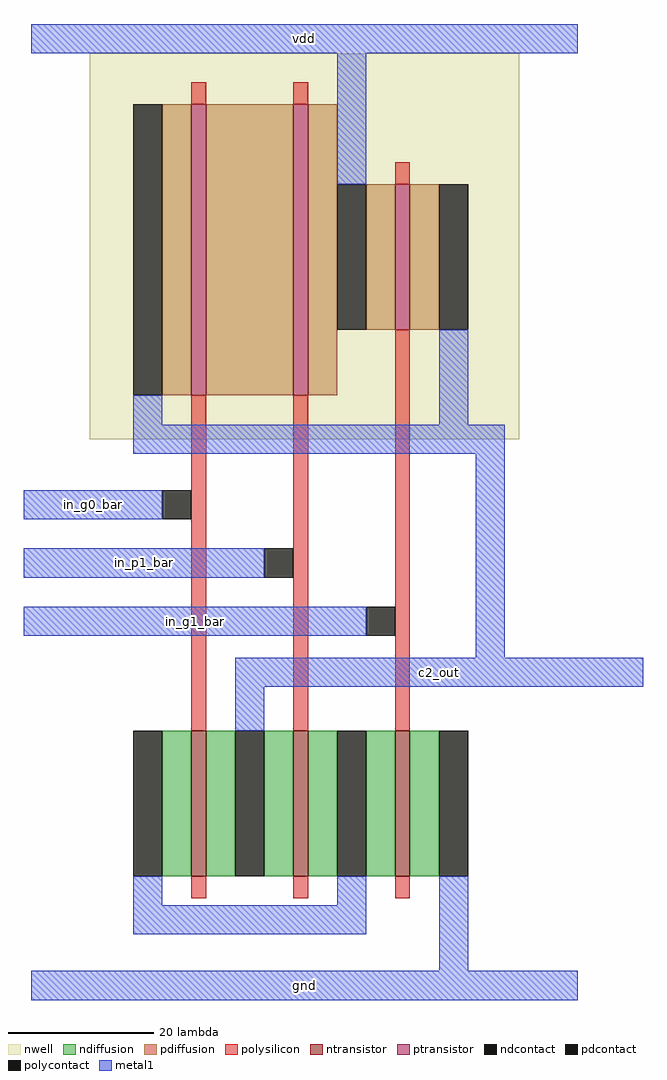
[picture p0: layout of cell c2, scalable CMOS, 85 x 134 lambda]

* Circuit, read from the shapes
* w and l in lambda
.subckt c2 c2_out gnd in_g0_bar in_g1_bar in_p1_bar vdd
M1 c2_out in_g0_bar n1 VSUBS nfet w=20 l=2
M2 n1 in_p1_bar c2_out VSUBS nfet w=20 l=2
M3 gnd in_g1_bar n1 VSUBS nfet w=20 l=2
M4 n2 in_g0_bar c2_out n3 pfet w=40 l=2
M5 vdd in_p1_bar n2 n3 pfet w=40 l=2
M6 c2_out in_g1_bar vdd n3 pfet w=20 l=2
.ends

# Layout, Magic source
magic
tech scmos
<< nwell >>
rect -30 -1 29 52
<< ntransistor >>
rect -16 -61 -14 -41
rect -2 -61 0 -41
rect 12 -61 14 -41
<< ptransistor >>
rect -16 5 -14 45
rect -2 5 0 45
rect 12 14 14 34
<< ndiffusion >>
rect -20 -61 -16 -41
rect -14 -61 -10 -41
rect -6 -61 -2 -41
rect 0 -61 4 -41
rect 8 -61 12 -41
rect 14 -61 18 -41
<< pdiffusion >>
rect -20 5 -16 45
rect -14 5 -2 45
rect 0 5 4 45
rect 8 14 12 34
rect 14 14 18 34
<< ndcontact >>
rect -24 -61 -20 -41
rect -10 -61 -6 -41
rect 4 -61 8 -41
rect 18 -61 22 -41
<< pdcontact >>
rect -24 5 -20 45
rect 4 14 8 34
rect 18 14 22 34
<< polysilicon >>
rect -16 45 -14 48
rect -2 45 0 48
rect 12 34 14 37
rect -16 -41 -14 5
rect -2 -41 0 5
rect 12 -41 14 14
rect -16 -64 -14 -61
rect -2 -64 0 -61
rect 12 -64 14 -61
<< polycontact >>
rect -20 -12 -16 -8
rect -6 -20 -2 -16
rect 8 -28 12 -24
<< metal1 >>
rect -38 52 37 56
rect 4 34 8 52
rect -24 1 -20 5
rect 18 1 22 14
rect -24 -3 27 1
rect -39 -12 -20 -8
rect -39 -20 -6 -16
rect -39 -28 8 -24
rect 23 -31 27 -3
rect -10 -35 46 -31
rect -10 -41 -6 -35
rect -24 -65 -20 -61
rect 4 -65 8 -61
rect -24 -69 8 -65
rect 18 -74 22 -61
rect -38 -78 37 -74
<< labels >>
rlabel metal1 -38 -78 37 -74 1 gnd
rlabel metal1 -38 52 37 56 5 vdd
rlabel metal1 -39 -12 -20 -8 1 in_g0_bar
rlabel metal1 -39 -20 -6 -16 1 in_p1_bar
rlabel metal1 -39 -28 8 -24 1 in_g1_bar
rlabel metal1 -10 -35 46 -31 1 c2_out
<< end >>
